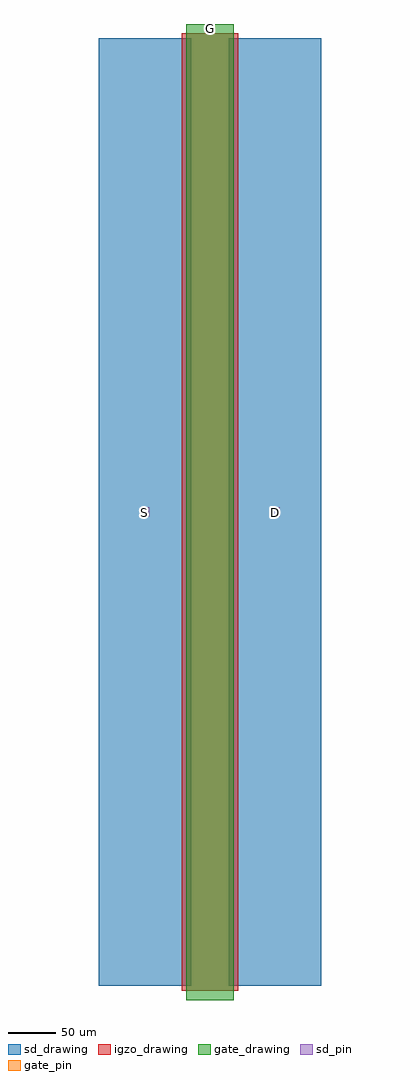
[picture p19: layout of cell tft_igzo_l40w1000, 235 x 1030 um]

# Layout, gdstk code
import gdstk
lib = gdstk.Library(unit=1e-6, precision=1e-09)
def R(c, l, rs):  # rectangles x0, y0, x1, y1
    for r in rs: c.add(gdstk.rectangle(r[:2], r[2:], *l))
gate_drawing = (2, 0)
gate_pin = (2, 10)
igzo_drawing = (4, 0)
sd_drawing = (6, 0)
sd_pin = (6, 10)

tft_igzo_l40w1000 = lib.new_cell('tft_igzo_l40w1000')
R(tft_igzo_l40w1000, gate_drawing, [(-25,-515,25,515)])
R(tft_igzo_l40w1000, gate_pin, [(-4.88,505.12,4.88,514.88)])
R(tft_igzo_l40w1000, igzo_drawing, [(-30,-505,30,505)])
R(tft_igzo_l40w1000, sd_drawing, [(-117.5,-500,-20,500), (20,-500,117.5,500)])
R(tft_igzo_l40w1000, sd_pin, [(-73.63,-4.88,-63.87,4.88), (63.87,-4.88,73.63,4.88)])
tft_igzo_l40w1000.add(gdstk.Label('S', (-68.75,0), layer=6, texttype=10))
tft_igzo_l40w1000.add(gdstk.Label('D', (68.75,0), layer=6, texttype=10))
tft_igzo_l40w1000.add(gdstk.Label('G', (0,510), layer=2, texttype=10))

lib.write_gds('tft_igzo_l40w1000.gds')
